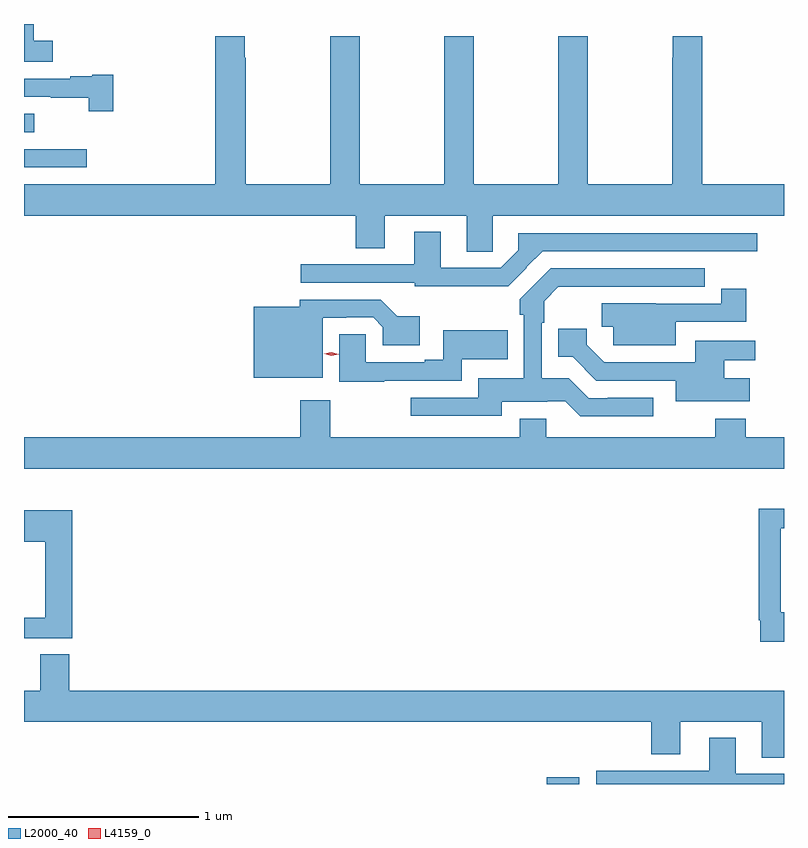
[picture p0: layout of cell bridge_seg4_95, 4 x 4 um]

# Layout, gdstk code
import gdstk
lib = gdstk.Library(unit=1e-6, precision=1e-09)
def R(c, l, rs):  # rectangles x0, y0, x1, y1
    for r in rs: c.add(gdstk.rectangle(r[:2], r[2:], *l))
def P(c, l, *ps):  # polygons
    for p in ps: c.add(gdstk.Polygon(p, *l))
L2000_40 = (2000, 40)
L4159_0 = (4159, 0)

bridge_seg4_95 = lib.new_cell('bridge_seg4_95')
R(bridge_seg4_95, L2000_40, [(460.148,761.86,460.318,761.896), (457.396,765.105,457.726,765.201), (457.396,765.291,457.45,765.387)])
P(bridge_seg4_95, L2000_40, [(457.546,765.772),(457.447,765.772),(457.447,765.86),(457.396,765.86),(457.396,765.662),(457.546,765.662)],
  [(459.864,764.852),(461.396,764.852),(461.396,765.016),(460.967,765.016),(460.967,765.796),(460.811,765.796),(460.811,765.683),(460.807,765.683),(460.807,765.016),(460.362,765.016),(460.362,765.796),(460.207,765.796),(460.207,765.016),(459.762,765.016),(459.762,765.796),(459.607,765.796),(459.607,765.016),(459.162,765.016),(459.162,765.796),(459.007,765.796),(459.007,765.016),(458.562,765.016),(458.562,765.683),(458.557,765.683),(458.557,765.796),(458.402,765.796),(458.402,765.016),(457.396,765.016),(457.396,764.852),(459.143,764.852),(459.143,764.68),(459.295,764.68),(459.295,764.852),(459.725,764.852),(459.725,764.662),(459.864,764.662)],
  [(457.867,765.593),(457.754,765.593),(457.754,765.586),(457.64,765.586),(457.64,765.573),(457.396,765.573),(457.396,765.477),(457.537,765.477),(457.537,765.472),(457.736,765.472),(457.736,765.402),(457.867,765.402)],
  [(460.043,764.576),(460.04,764.579),(460.125,764.664),(461.254,764.664),(461.254,764.76),(459.997,764.76),(459.997,764.668),(459.906,764.577),(459.589,764.577),(459.589,764.767),(459.449,764.767),(459.449,764.595),(458.853,764.595),(458.853,764.499),(459.453,764.499),(459.453,764.479),(459.945,764.479)],
  [(460.708,763.893),(460.468,763.893),(460.468,763.89),(460.368,763.89),(460.263,763.995),(460.122,763.995),(460.122,764.288),(460.133,764.288),(460.133,764.4),(460.208,764.476),(460.312,764.476),(460.312,764.478),(460.978,764.478),(460.978,764.574),(460.169,764.574),(460.006,764.411),(460.006,764.33),(460.026,764.33),(460.026,763.996),(459.788,763.996),(459.788,763.893),(459.432,763.893),(459.432,763.797),(459.91,763.797),(459.91,763.871),(460.151,763.871),(460.151,763.875),(460.245,763.875),(460.324,763.796),(460.708,763.796)],
  [(460.825,764.292),(461.197,764.292),(461.197,764.467),(461.066,764.467),(461.066,764.388),(460.721,764.388),(460.721,764.389),(460.437,764.389),(460.437,764.267),(460.496,764.267),(460.496,764.168),(460.825,764.168)],
  [(458.968,764.313),(459.092,764.313),(459.092,764.316),(459.234,764.316),(459.285,764.265),(459.285,764.168),(459.478,764.168),(459.478,764.323),(459.36,764.323),(459.274,764.409),(458.846,764.409),(458.846,764.371),(458.606,764.371),(458.606,763.997),(458.968,763.997)],
  [(461.215,763.996),(461.081,763.996),(461.081,764.09),(461.245,764.09),(461.245,764.194),(460.928,764.194),(460.928,764.079),(460.449,764.079),(460.357,764.171),(460.357,764.256),(460.207,764.256),(460.207,764.108),(460.284,764.108),(460.409,763.983),(460.826,763.983),(460.826,763.874),(461.215,763.874)],
  [(459.292,763.983),(459.699,763.983),(459.699,764.096),(459.941,764.096),(459.941,764.248),(459.603,764.248),(459.603,764.092),(459.506,764.092),(459.506,764.079),(459.195,764.079),(459.195,764.228),(459.056,764.228),(459.056,763.978),(459.292,763.978)],
  [(461.396,763.684),(461.195,763.684),(461.195,763.783),(461.035,763.783),(461.035,763.684),(460.144,763.684),(460.144,763.783),(460.004,763.783),(460.004,763.684),(459.009,763.684),(459.009,763.879),(458.849,763.879),(458.849,763.684),(457.396,763.684),(457.396,763.52),(461.396,763.52)],
  [(461.396,762.765),(461.379,762.765),(461.379,763.206),(461.396,763.206),(461.396,763.309),(461.263,763.309),(461.263,762.721),(461.271,762.721),(461.271,762.609),(461.396,762.609)],
  [(457.649,763.3),(457.396,763.3),(457.396,763.135),(457.507,763.135),(457.507,762.736),(457.396,762.736),(457.396,762.627),(457.649,762.627)],
  [(461.396,762.352),(457.634,762.352),(457.634,762.542),(457.481,762.542),(457.481,762.352),(457.396,762.352),(457.396,762.188),(460.697,762.188),(460.697,762.016),(460.849,762.016),(460.849,762.188),(461.279,762.188),(461.279,761.998),(461.396,761.998)],
  [(461.396,761.913),(461.143,761.913),(461.143,762.103),(461.003,762.103),(461.003,761.931),(460.407,761.931),(460.407,761.86),(461.396,761.86)])
P(bridge_seg4_95, L4159_0, [(459.014,764.113),(458.975,764.124),(458.975,764.124),(458.975,764.125),(459.014,764.133),(459.053,764.122),(459.053,764.122),(459.053,764.122)])

lib.write_gds('bridge_seg4_95.gds')
